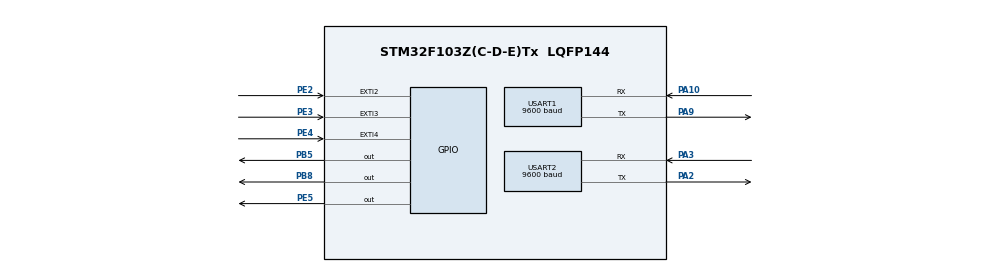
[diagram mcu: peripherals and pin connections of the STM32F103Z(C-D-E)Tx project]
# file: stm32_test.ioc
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Dma.Request0=USART2_RX
Dma.USART2_RX.0.Direction=DMA_PERIPH_TO_MEMORY
Dma.USART2_RX.0.Instance=DMA1_Channel6
Dma.USART2_RX.0.MemDataAlignment=DMA_MDATAALIGN_BYTE
Dma.USART2_RX.0.MemInc=DMA_MINC_ENABLE
Dma.USART2_RX.0.Mode=DMA_NORMAL
Dma.USART2_RX.0.PeriphDataAlignment=DMA_PDATAALIGN_BYTE
Dma.USART2_RX.0.PeriphInc=DMA_PINC_DISABLE
Dma.USART2_RX.0.Priority=DMA_PRIORITY_LOW
Mcu.Family=STM32F1
Mcu.Name=STM32F103Z(C-D-E)Tx
Mcu.Package=LQFP144
NVIC.DMA1_Channel6_IRQn=true\:0\:0\:false\:false\:true\:false\:true
NVIC.EXTI2_IRQn=true\:0\:0\:false\:false\:true\:true\:true
NVIC.EXTI3_IRQn=true\:0\:0\:false\:false\:true\:true\:true
NVIC.EXTI4_IRQn=true\:0\:0\:false\:false\:true\:true\:true
NVIC.PriorityGroup=NVIC_PRIORITYGROUP_4
NVIC.TIM2_IRQn=true\:0\:0\:false\:false\:true\:true\:true
NVIC.TIM3_IRQn=true\:0\:0\:false\:false\:true\:true\:true
NVIC.USART2_IRQn=true\:0\:0\:false\:true\:true\:1\:true\:true
PA10.GPIO_PuPd=GPIO_PULLUP
PA10.Mode=Asynchronous
PA10.Signal=USART1_RX
PA13.Mode=JTAG_5_pins
PA13.Signal=SYS_JTMS-SWDIO
PA14.Mode=JTAG_5_pins
PA14.Signal=SYS_JTCK-SWCLK
PA15.Mode=JTAG_5_pins
PA15.Signal=SYS_JTDI
PA2.Mode=Asynchronous
PA2.Signal=USART2_TX
PA3.GPIO_PuPd=GPIO_PULLUP
PA3.Mode=Asynchronous
PA3.Signal=USART2_RX
PA9.Mode=Asynchronous
PA9.Signal=USART1_TX
PB3.Mode=JTAG_5_pins
PB3.Signal=SYS_JTDO-TRACESWO
PB4.Mode=JTAG_5_pins
PB4.Signal=SYS_NJTRST
PB5.Signal=GPIO_Output
PB8.Signal=GPIO_Output
PE2.GPIO_ModeDefaultEXTI=GPIO_MODE_IT_FALLING
PE2.GPIO_PuPd=GPIO_PULLUP
PE2.Signal=GPXTI2
PE3.GPIO_ModeDefaultEXTI=GPIO_MODE_IT_FALLING
PE3.GPIO_PuPd=GPIO_PULLUP
PE3.Signal=GPXTI3
PE4.GPIO_ModeDefaultEXTI=GPIO_MODE_IT_FALLING
PE4.GPIO_PuPd=GPIO_PULLUP
PE4.Signal=GPXTI4
PE5.Signal=GPIO_Output
ProjectManager.HeapSize=0x200
ProjectManager.StackSize=0x400
ProjectManager.TargetToolchain=SW4STM32
RCC.APB1Freq_Value=8000000
RCC.APB1TimFreq_Value=8000000
RCC.APB2Freq_Value=8000000
TIM2.Period=10000
TIM2.Prescaler=8000-1
TIM3.AutoReloadPreload=TIM_AUTORELOAD_PRELOAD_DISABLE
TIM3.Period=1000
TIM3.Prescaler=8000-1
USART1.BaudRate=9600
USART1.VirtualMode=VM_ASYNC
USART2.BaudRate=9600
USART2.VirtualMode=VM_ASYNC
VP_TIM2_VS_ClockSourceINT.Mode=Internal
VP_TIM3_VS_ClockSourceINT.Mode=Internal
board=custom

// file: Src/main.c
/* USER CODE BEGIN Header */
/**
  ******************************************************************************
  * @file           : main.c
  * @brief          : Main program body
  ******************************************************************************
  * @attention
  *
  * <h2><center>&copy; Copyright (c) 2020 STMicroelectronics.
  * All rights reserved.</center></h2>
  *
  * This software component is licensed by ST under BSD 3-Clause license,
  * the "License"; You may not use this file except in compliance with the
  * License. You may obtain a copy of the License at:
  *                        opensource.org/licenses/BSD-3-Clause
  *
  ******************************************************************************
  */
/* USER CODE END Header */

#include "main.h"

TIM_HandleTypeDef htim2;
TIM_HandleTypeDef htim3;

UART_HandleTypeDef huart1;
UART_HandleTypeDef huart2;
DMA_HandleTypeDef hdma_usart2_rx;

/* USER CODE BEGIN PV */

uint8_t resouce_state[3] = {0};
uint8_t moduleInit = 0, moduleReconnect = 0, moduleClose = 0;
uint8_t enableReport = 0, enableCommand = 0;
uint8_t initComplete = 0;

extern uint8_t UART2RXBUFFER[255];

/* USER CODE END PV */

void SystemClock_Config(void);

static void MX_GPIO_Init(void);

static void MX_USART1_UART_Init(void);

static void MX_USART2_UART_Init(void);

static void MX_DMA_Init(void);

static void MX_TIM3_Init(void);

static void MX_TIM2_Init(void);

static void MX_NVIC_Init(void);

/* USER CODE BEGIN 0 */

void HAL_TIM_PeriodElapsedCallback(TIM_HandleTypeDef *htim) {
    if(!initComplete){
        return;
    }

    if(htim==&htim2){
        enableCommand = 1;
    }else if(htim==&htim3){
        enableReport = 1;
    }
}

void HAL_GPIO_EXTI_Callback(uint16_t GPIO_Pin) {
    if(!initComplete){
        return;
    }

    switch (GPIO_Pin) {
        case GPIO_PIN_2: {
            moduleInit = 1;
            break;
        }
        case GPIO_PIN_3: {
            moduleReconnect = 1;
            break;
        }
        case GPIO_PIN_4: {
            moduleClose = 1;
            break;
        }
        default: {
        }
    }
}

/* USER CODE END 0 */

int main(void) {

    /* MCU Configuration--------------------------------------------------------*/

    /* Reset of all peripherals, Initializes the Flash interface and the Systick. */
    HAL_Init();

    /* Configure the system clock */
    SystemClock_Config();

    /* Initialize all configured peripherals */
    MX_GPIO_Init();
    MX_DMA_Init();
    MX_USART1_UART_Init();
    MX_USART2_UART_Init();
    MX_TIM3_Init();
    MX_TIM2_Init();

    /* Initialize interrupts */
    MX_NVIC_Init();
    /* USER CODE BEGIN 2 */
    SetBeep(0);
    SetLed0(0);
    SetLed1(0);
    __HAL_UART_ENABLE_IT(&huart2, UART_IT_IDLE);
    HAL_UART_Receive_DMA(&huart2, UART2RXBUFFER, 20);
    HAL_TIM_Base_Start_IT(&htim3);
    HAL_TIM_Base_Start_IT(&htim2);

    while (!NBReconnect()) {
        HAL_Delay(1000);
    }

    SetLed0(1);
    resouce_state[0]=1;
    initComplete = 1;

    /* USER CODE END 2 */

    /* Infinite loop */
    /* USER CODE BEGIN WHILE */
    while (1) {
        if (moduleInit) {
            NBInit();
            moduleInit = 0;
        }
        if (moduleClose) {
            NBClose();
            moduleClose = 0;
        }
        if(moduleReconnect){
            NBReconnect();
            moduleReconnect=0;
        }
        if (enableCommand){
            HWCommand();
            enableCommand=0;
        }
        if (enableReport){
            HWReport();
            enableReport=0;
        }
        SetLed0(resouce_state[0]);
        SetLed1(resouce_state[1]);
        SetBeep(resouce_state[2]);
        /* USER CODE END WHILE */

    }
}

void SystemClock_Config(void) {
    RCC_OscInitTypeDef RCC_OscInitStruct = {0};
    RCC_ClkInitTypeDef RCC_ClkInitStruct = {0};

    /** Initializes the CPU, AHB and APB busses clocks
    */
    RCC_OscInitStruct.OscillatorType = RCC_OSCILLATORTYPE_HSI;
    RCC_OscInitStruct.HSIState = RCC_HSI_ON;
    RCC_OscInitStruct.HSICalibrationValue = RCC_HSICALIBRATION_DEFAULT;
    RCC_OscInitStruct.PLL.PLLState = RCC_PLL_NONE;
    if (HAL_RCC_OscConfig(&RCC_OscInitStruct) != HAL_OK) {
        Error_Handler();
    }
    /** Initializes the CPU, AHB and APB busses clocks
    */
    RCC_ClkInitStruct.ClockType = RCC_CLOCKTYPE_HCLK | RCC_CLOCKTYPE_SYSCLK
                                  | RCC_CLOCKTYPE_PCLK1 | RCC_CLOCKTYPE_PCLK2;
    RCC_ClkInitStruct.SYSCLKSource = RCC_SYSCLKSOURCE_HSI;
    RCC_ClkInitStruct.AHBCLKDivider = RCC_SYSCLK_DIV1;
    RCC_ClkInitStruct.APB1CLKDivider = RCC_HCLK_DIV1;
    RCC_ClkInitStruct.APB2CLKDivider = RCC_HCLK_DIV1;

    if (HAL_RCC_ClockConfig(&RCC_ClkInitStruct, FLASH_LATENCY_0) != HAL_OK) {
        Error_Handler();
    }
}

/**
  * @brief NVIC Configuration.
  * @retval None
  */
static void MX_NVIC_Init(void) {
    /* USART2_IRQn interrupt configuration */
    HAL_NVIC_SetPriority(USART2_IRQn, 0, 0);
    HAL_NVIC_EnableIRQ(USART2_IRQn);
}

static void MX_TIM2_Init(void) {

    TIM_ClockConfigTypeDef sClockSourceConfig = {0};
    TIM_MasterConfigTypeDef sMasterConfig = {0};

    htim2.Instance = TIM2;
    htim2.Init.Prescaler = 8000 - 1;
    htim2.Init.CounterMode = TIM_COUNTERMODE_UP;
    htim2.Init.Period = 10000;
    htim2.Init.ClockDivision = TIM_CLOCKDIVISION_DIV1;
    htim2.Init.AutoReloadPreload = TIM_AUTORELOAD_PRELOAD_DISABLE;
    if (HAL_TIM_Base_Init(&htim2) != HAL_OK) {
        Error_Handler();
    }
    sClockSourceConfig.ClockSource = TIM_CLOCKSOURCE_INTERNAL;
    if (HAL_TIM_ConfigClockSource(&htim2, &sClockSourceConfig) != HAL_OK) {
        Error_Handler();
    }
    sMasterConfig.MasterOutputTrigger = TIM_TRGO_RESET;
    sMasterConfig.MasterSlaveMode = TIM_MASTERSLAVEMODE_DISABLE;
    if (HAL_TIMEx_MasterConfigSynchronization(&htim2, &sMasterConfig) != HAL_OK) {
        Error_Handler();
    }

}

static void MX_TIM3_Init(void) {

    TIM_ClockConfigTypeDef sClockSourceConfig = {0};
    TIM_MasterConfigTypeDef sMasterConfig = {0};

    htim3.Instance = TIM3;
    htim3.Init.Prescaler = 8000 - 1;
    htim3.Init.CounterMode = TIM_COUNTERMODE_UP;
    htim3.Init.Period = 1000;
    htim3.Init.ClockDivision = TIM_CLOCKDIVISION_DIV1;
    htim3.Init.AutoReloadPreload = TIM_AUTORELOAD_PRELOAD_DISABLE;
    if (HAL_TIM_Base_Init(&htim3) != HAL_OK) {
        Error_Handler();
    }
    sClockSourceConfig.ClockSource = TIM_CLOCKSOURCE_INTERNAL;
    if (HAL_TIM_ConfigClockSource(&htim3, &sClockSourceConfig) != HAL_OK) {
        Error_Handler();
    }
    sMasterConfig.MasterOutputTrigger = TIM_TRGO_RESET;
    sMasterConfig.MasterSlaveMode = TIM_MASTERSLAVEMODE_DISABLE;
    if (HAL_TIMEx_MasterConfigSynchronization(&htim3, &sMasterConfig) != HAL_OK) {
        Error_Handler();
    }

}

static void MX_USART1_UART_Init(void) {

    huart1.Instance = USART1;
    huart1.Init.BaudRate = 9600;
    huart1.Init.WordLength = UART_WORDLENGTH_8B;
    huart1.Init.StopBits = UART_STOPBITS_1;
    huart1.Init.Parity = UART_PARITY_NONE;
    huart1.Init.Mode = UART_MODE_TX_RX;
    huart1.Init.HwFlowCtl = UART_HWCONTROL_NONE;
    huart1.Init.OverSampling = UART_OVERSAMPLING_16;
    if (HAL_UART_Init(&huart1) != HAL_OK) {
        Error_Handler();
    }

}

static void MX_USART2_UART_Init(void) {

    huart2.Instance = USART2;
    huart2.Init.BaudRate = 9600;
    huart2.Init.WordLength = UART_WORDLENGTH_8B;
    huart2.Init.StopBits = UART_STOPBITS_1;
    huart2.Init.Parity = UART_PARITY_NONE;
    huart2.Init.Mode = UART_MODE_TX_RX;
    huart2.Init.HwFlowCtl = UART_HWCONTROL_NONE;
    huart2.Init.OverSampling = UART_OVERSAMPLING_16;
    if (HAL_UART_Init(&huart2) != HAL_OK) {
        Error_Handler();
    }

}

static void MX_DMA_Init(void) {

    /* DMA controller clock enable */
    __HAL_RCC_DMA1_CLK_ENABLE();

    /* DMA interrupt init */
    /* DMA1_Channel6_IRQn interrupt configuration */
    HAL_NVIC_SetPriority(DMA1_Channel6_IRQn, 0, 0);
    HAL_NVIC_EnableIRQ(DMA1_Channel6_IRQn);

}

static void MX_GPIO_Init(void) {
    GPIO_InitTypeDef GPIO_InitStruct = {0};

    /* GPIO Ports Clock Enable */
    __HAL_RCC_GPIOE_CLK_ENABLE();
    __HAL_RCC_GPIOA_CLK_ENABLE();
    __HAL_RCC_GPIOB_CLK_ENABLE();

    /*Configure GPIO pin Output Level */
    HAL_GPIO_WritePin(GPIOE, GPIO_PIN_5, GPIO_PIN_RESET);

    /*Configure GPIO pin Output Level */
    HAL_GPIO_WritePin(GPIOB, GPIO_PIN_5 | GPIO_PIN_8, GPIO_PIN_RESET);

    /*Configure GPIO pins : PE2 PE3 PE4 */
    GPIO_InitStruct.Pin = GPIO_PIN_2 | GPIO_PIN_3 | GPIO_PIN_4;
    GPIO_InitStruct.Mode = GPIO_MODE_IT_FALLING;
    GPIO_InitStruct.Pull = GPIO_PULLUP;
    HAL_GPIO_Init(GPIOE, &GPIO_InitStruct);

    /*Configure GPIO pin : PE5 */
    GPIO_InitStruct.Pin = GPIO_PIN_5;
    GPIO_InitStruct.Mode = GPIO_MODE_OUTPUT_PP;
    GPIO_InitStruct.Pull = GPIO_NOPULL;
    GPIO_InitStruct.Speed = GPIO_SPEED_FREQ_LOW;
    HAL_GPIO_Init(GPIOE, &GPIO_InitStruct);

    /*Configure GPIO pins : PB5 PB8 */
    GPIO_InitStruct.Pin = GPIO_PIN_5 | GPIO_PIN_8;
    GPIO_InitStruct.Mode = GPIO_MODE_OUTPUT_PP;
    GPIO_InitStruct.Pull = GPIO_NOPULL;
    GPIO_InitStruct.Speed = GPIO_SPEED_FREQ_LOW;
    HAL_GPIO_Init(GPIOB, &GPIO_InitStruct);

    /* EXTI interrupt init*/
    HAL_NVIC_SetPriority(EXTI2_IRQn, 0, 0);
    HAL_NVIC_EnableIRQ(EXTI2_IRQn);

    HAL_NVIC_SetPriority(EXTI3_IRQn, 0, 0);
    HAL_NVIC_EnableIRQ(EXTI3_IRQn);

    HAL_NVIC_SetPriority(EXTI4_IRQn, 0, 0);
    HAL_NVIC_EnableIRQ(EXTI4_IRQn);

}

void Error_Handler(void) {
}

/************************ (C) COPYRIGHT STMicroelectronics *****END OF FILE****/
